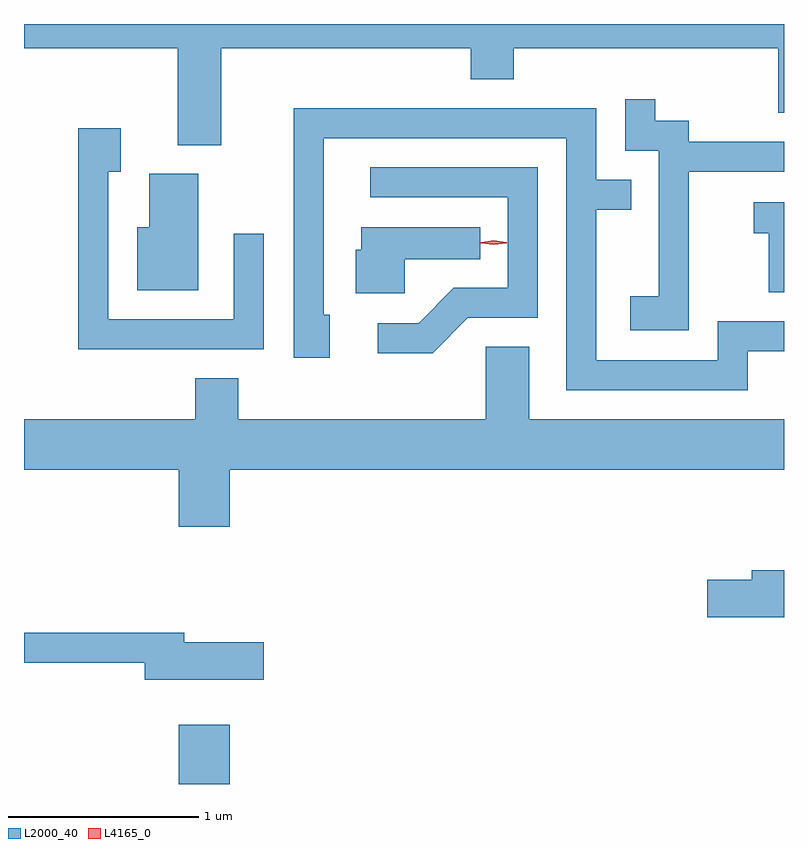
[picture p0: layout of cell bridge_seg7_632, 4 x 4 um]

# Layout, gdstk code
import gdstk
lib = gdstk.Library(unit=1e-6, precision=1e-09)
def R(c, l, rs):  # rectangles x0, y0, x1, y1
    for r in rs: c.add(gdstk.rectangle(r[:2], r[2:], *l))
def P(c, l, *ps):  # polygons
    for p in ps: c.add(gdstk.Polygon(p, *l))
L2000_40 = (2000, 40)
L4165_0 = (4165, 0)

bridge_seg7_632 = lib.new_cell('bridge_seg7_632')
R(bridge_seg7_632, L2000_40, [(634.656,1692.683,634.924,1692.994)])
P(bridge_seg7_632, L2000_40, [(634.879,1696.556),(636.191,1696.556),(636.191,1696.391),(636.419,1696.391),(636.419,1696.556),(637.811,1696.556),(637.811,1696.216),(637.841,1696.216),(637.841,1696.683),(633.841,1696.683),(633.841,1696.556),(634.651,1696.556),(634.651,1696.046),(634.879,1696.046)],
  [(637.339,1695.906),(637.841,1695.906),(637.841,1696.064),(637.339,1696.064),(637.339,1696.174),(637.164,1696.174),(637.164,1696.288),(637.006,1696.288),(637.006,1696.016),(637.181,1696.016),(637.181,1695.249),(637.031,1695.249),(637.031,1695.071),(637.339,1695.071)],
  [(637.649,1694.961),(637.841,1694.961),(637.841,1695.119),(637.491,1695.119),(637.491,1694.914),(636.854,1694.914),(636.854,1695.706),(637.038,1695.706),(637.038,1695.864),(636.854,1695.864),(636.854,1696.239),(635.261,1696.239),(635.261,1694.926),(635.449,1694.926),(635.449,1695.154),(635.419,1695.154),(635.419,1696.081),(636.696,1696.081),(636.696,1694.756),(637.649,1694.756)],
  [(635.104,1695.578),(634.946,1695.578),(634.946,1695.129),(634.284,1695.129),(634.284,1695.906),(634.349,1695.906),(634.349,1696.134),(634.126,1696.134),(634.126,1694.971),(635.104,1694.971)],
  [(636.177,1695.136),(636.544,1695.136),(636.544,1695.929),(635.663,1695.929),(635.663,1695.771),(636.386,1695.771),(636.386,1695.294),(636.104,1695.294),(635.919,1695.109),(635.703,1695.109),(635.703,1694.951),(635.992,1694.951)],
  [(634.759,1695.894),(634.501,1695.894),(634.501,1695.614),(634.436,1695.614),(634.436,1695.281),(634.759,1695.281)],
  [(637.841,1695.744),(637.683,1695.744),(637.683,1695.581),(637.761,1695.581),(637.761,1695.271),(637.841,1695.271)],
  [(635.844,1695.446),(636.243,1695.446),(636.243,1695.614),(635.616,1695.614),(635.616,1695.494),(635.586,1695.494),(635.586,1695.266),(635.844,1695.266)],
  [(634.924,1694.336),(637.841,1694.336),(637.841,1694.604),(636.499,1694.604),(636.499,1694.984),(636.271,1694.984),(636.271,1694.604),(634.969,1694.604),(634.969,1694.819),(634.741,1694.819),(634.741,1694.604),(633.841,1694.604),(633.841,1694.336),(634.656,1694.336),(634.656,1694.036),(634.924,1694.036)],
  [(637.841,1693.809),(637.671,1693.809),(637.671,1693.759),(637.436,1693.759),(637.436,1693.561),(637.841,1693.561)],
  [(635.104,1693.429),(634.684,1693.429),(634.684,1693.479),(633.841,1693.479),(633.841,1693.321),(634.476,1693.321),(634.476,1693.231),(635.104,1693.231)])
P(bridge_seg7_632, L4165_0, [(636.314,1695.521),(636.245,1695.53),(636.244,1695.53),(636.245,1695.531),(636.314,1695.54),(636.383,1695.531),(636.383,1695.531),(636.383,1695.53)],
  [(636.314,1695.524),(636.248,1695.533),(636.247,1695.534),(636.248,1695.534),(636.314,1695.544),(636.38,1695.534),(636.381,1695.534),(636.38,1695.533)])

lib.write_gds('bridge_seg7_632.gds')
